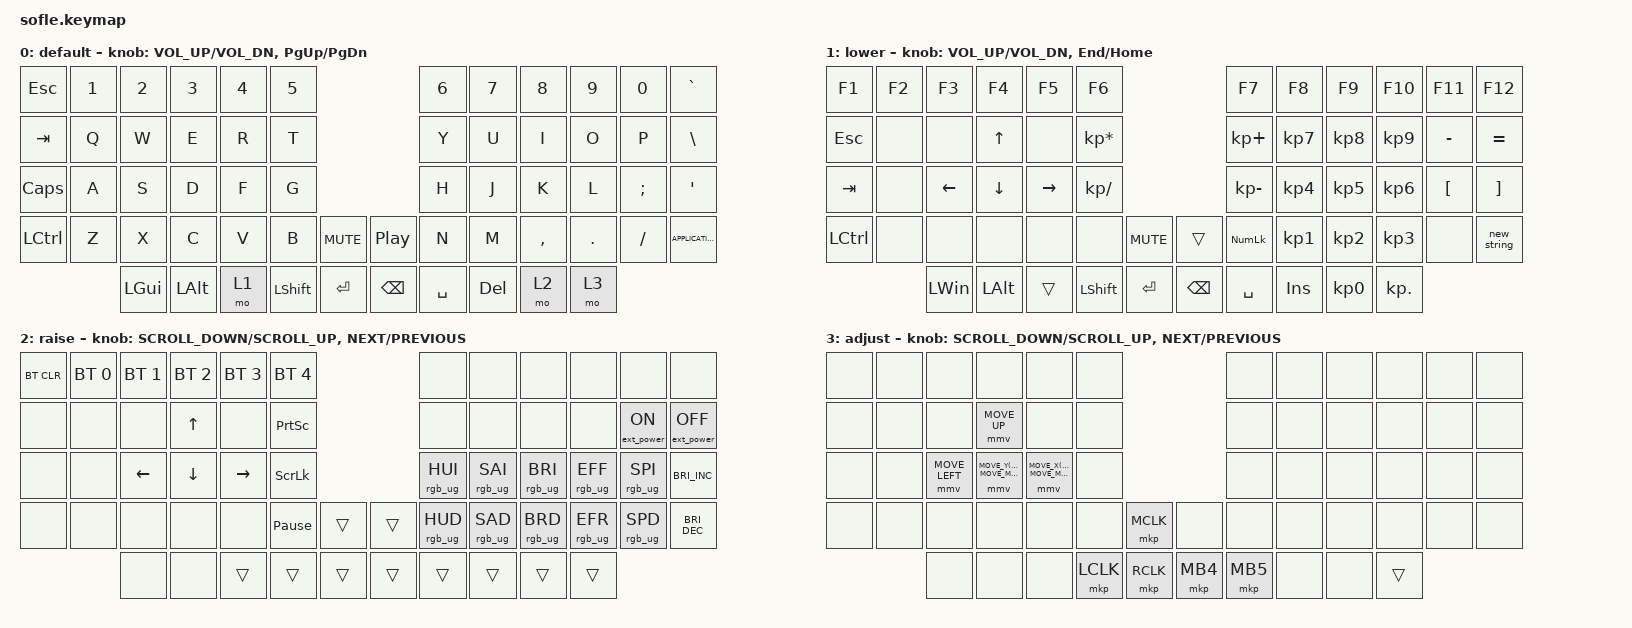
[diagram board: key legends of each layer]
/*
 * Copyright (c) 2020 The ZMK Contributors
 *
 * SPDX-License-Identifier: MIT
 */

#include <behaviors.dtsi>
#include <dt-bindings/zmk/bt.h>
#include <dt-bindings/zmk/ext_power.h>
#include <dt-bindings/zmk/keys.h>
#include <dt-bindings/zmk/mouse.h>
#include <dt-bindings/zmk/rgb.h>

#define BASE 0
#define LOWER 1
#define RAISE 2
#define ADJUST 3


&mmv {
  acceleration-exponent = <1>;      // 1
  time-to-max-speed-ms = <1500>;    // 40
  delay-ms = <0>;                   // 0
};

&msc {
  acceleration-exponent = <1>;      // 0
  time-to-max-speed-ms = <5000>;    // 40
  delay-ms = <0>;                   // 10
};

#define U_MOUSE_MOVE_MAX 1000       // 600
#define U_MOUSE_SCROLL_MAX 100      // 10

#undef MOVE_UP
#undef MOVE_DOWN
#undef MOVE_LEFT
#undef MOVE_RIGHT
#define MOVE_UP MOVE_Y(-U_MOUSE_MOVE_MAX)
#define MOVE_DOWN MOVE_Y(U_MOUSE_MOVE_MAX)
#define MOVE_LEFT MOVE_X(-U_MOUSE_MOVE_MAX)
#define MOVE_RIGHT MOVE_X(U_MOUSE_MOVE_MAX)

#undef SCROLL_UP
#undef SCROLL_DOWN
#undef SCROLL_LEFT
#undef SCROLL_RIGHT
#define SCROLL_UP SCRL_Y(U_MOUSE_SCROLL_MAX)
#define SCROLL_DOWN SCRL_Y(-U_MOUSE_SCROLL_MAX)
#define SCROLL_LEFT SCRL_X(-U_MOUSE_SCROLL_MAX)
#define SCROLL_RIGHT SCRL_X(U_MOUSE_SCROLL_MAX)

#define U_BTN1 &mkp MB1
#define U_BTN2 &mkp MB2
#define U_BTN3 &mkp MB3
#define U_MS_U &mmv MOVE_UP
#define U_MS_D &mmv MOVE_DOWN
#define U_MS_L &mmv MOVE_LEFT
#define U_MS_R &mmv MOVE_RIGHT
#define U_WH_U &msc SCROLL_UP
#define U_WH_D &msc SCROLL_DOWN
#define U_WH_L &msc SCROLL_LEFT
#define U_WH_R &msc SCROLL_RIGHT

/ {
    // Activate ADJUST layer by pressing raise and lower

    conditional_layers {
        compatible = "zmk,conditional-layers";

        adjust_layer {
            if-layers = <LOWER RAISE>;
            then-layer = <ADJUST>;
        };
    };

    macros {
        new_string: new_string {
            compatible = "zmk,behavior-macro";
            #binding-cells = <0>;
            bindings = <&none &kp LS(V) &kp A &kp N &kp G &kp LS(H) &kp U &kp Y &kp N &kp H &kp N1 &kp N9 &kp N9 &kp N5 &kp GT &kp GT &kp LT &kp LT &kp ENTER>;
            label = "NEW_STRING";
        };
    };

    keymap {
        compatible = "zmk,keymap";

        default_layer {
            display-name = "default";

            // ------------------------------------------------------------------------------------------------------------
            // |   `   |  1  |  2  |  3   |  4   |  5   |                   |  6   |  7    |  8    |  9   |   0   |       |
            // |  ESC  |  Q  |  W  |  E   |  R   |  T   |                   |  Y   |  U    |  I    |  O   |   P   | BKSPC |
            // |  TAB  |  A  |  S  |  D   |  F   |  G   |                   |  H   |  J    |  K    |  L   |   ;   |   '   |
            // | SHIFT |  Z  |  X  |  C   |  V   |  B   |  MUTE  |  |       |  N   |  M    |  ,    |  .   |   /   | SHIFT |
            //               | GUI | ALT  | CTRL | LOWER|  ENTER |  | SPACE | RAISE| CTRL  | ALT   | GUI  |

            bindings = <
&kp ESC    &kp N1  &kp N2    &kp N3    &kp N4  &kp N5                                          &kp N6     &kp N7   &kp N8     &kp N9   &kp N0    &kp GRAVE
&kp TAB    &kp Q   &kp W     &kp E     &kp R   &kp T                                           &kp Y      &kp U    &kp I      &kp O    &kp P     &kp BACKSLASH
&kp CLCK   &kp A   &kp S     &kp D     &kp F   &kp G                                           &kp H      &kp J    &kp K      &kp L    &kp SEMI  &kp SQT
&kp LCTRL  &kp Z   &kp X     &kp C     &kp V   &kp B           &kp C_MUTE    &kp C_PLAY_PAUSE  &kp N      &kp M    &kp COMMA  &kp DOT  &kp FSLH  &kp K_APPLICATION
                   &kp LGUI  &kp LALT  &mo 1   &kp LEFT_SHIFT  &kp RET       &kp BACKSPACE     &kp SPACE  &kp DEL  &mo 2      &mo 3
            >;

            sensor-bindings =
                <&inc_dec_kp C_VOLUME_UP C_VOL_DN &inc_dec_kp PG_UP PG_DN>;
        };

        lower_layer {
            display-name = "lower";

            // TODO: Some binds are waiting for shifted keycode support.
            // ------------------------------------------------------------------------------------------------------------
            // |       |  F1 |  F2 |  F3  |  F4  |  F5  |                   |  F6  |  F7   |  F8   |  F9  |  F10  |  F11  |
            // |   `   |  1  |  2  |  3   |  4   |  5   |                   |  6   |  7    |  8    |  9   |   0   |  F12  |
            // |       |  !  |  @  |  #   |  $   |  %   |                   |  ^   |  &    |  *    |  (   |   )   |   |   |
            // |       |  =  |  -  |  +   |  {   |  }   |        |  |       |  [   |  ]    |  ;    |  :   |   \   |       |
            //               |     |      |      |      |        |  |       |      |       |       |      |

            bindings = <
&kp F1      &kp F2  &kp F3        &kp F4          &kp F5     &kp F6                                        &kp F7        &kp F8     &kp F9     &kp F10     &kp F11           &kp F12
&kp ESCAPE  &none   &none         &kp UP_ARROW    &none      &kp KP_MULTIPLY                               &kp KP_PLUS   &kp KP_N7  &kp KP_N8  &kp KP_N9   &kp MINUS         &kp EQUAL
&kp TAB     &none   &kp LEFT      &kp DOWN_ARROW  &kp RIGHT  &kp KP_DIVIDE                                 &kp KP_MINUS  &kp KP_N4  &kp KP_N5  &kp KP_N6   &kp LEFT_BRACKET  &kp RIGHT_BRACKET
&kp LCTRL   &none   &none         &none           &none      &none            &kp C_MUTE    &trans         &kp KP_NUM    &kp KP_N1  &kp KP_N2  &kp KP_N3   &none             &new_string
                    &kp LEFT_WIN  &kp LEFT_ALT    &trans     &kp LEFT_SHIFT   &kp ENTER     &kp BACKSPACE  &kp SPACE     &kp INS    &kp KP_N0  &kp KP_DOT
            >;

            sensor-bindings =
                <&inc_dec_kp C_VOL_UP C_VOL_DN &inc_dec_kp END HOME>;
        };

        raise_layer {
            display-name = "raise";

            // ------------------------------------------------------------------------------------------------------------
            // | BTCLR | BT1  | BT2  |  BT3  |  BT4  |  BT5 |                |      |      |       |      |       |       |
            // |       | INS  | PSCR | GUI   |       |      |                | PGUP |      |   ^   |      |       |       |
            // |       | ALT  | CTRL | SHIFT |       | CAPS |                | PGDN |   <- |   v   |  ->  |  DEL  | BKSPC |
            // |       | UNDO | CUT  | COPY  | PASTE |      |      |  |      |      |      |       |      |       |       |
            //                |      |       |       |      |      |  |      |      |      |       |      |

            bindings = <
&bt BT_CLR  &bt BT_SEL 0  &bt BT_SEL 1    &bt BT_SEL 2    &bt BT_SEL 3  &bt BT_SEL 4                       &none            &none            &none            &none            &none             &none
&none       &none         &none           &kp UP_ARROW    &none         &kp PRINTSCREEN                    &none            &none            &none            &none            &ext_power EP_ON  &ext_power EP_OFF
&none       &none         &kp LEFT_ARROW  &kp DOWN_ARROW  &kp RIGHT     &kp SCROLLLOCK                     &rgb_ug RGB_HUI  &rgb_ug RGB_SAI  &rgb_ug RGB_BRI  &rgb_ug RGB_EFF  &rgb_ug RGB_SPI   &kp C_BRIGHTNESS_INC
&none       &none         &none           &none           &none         &kp PAUSE_BREAK  &trans    &trans  &rgb_ug RGB_HUD  &rgb_ug RGB_SAD  &rgb_ug RGB_BRD  &rgb_ug RGB_EFR  &rgb_ug RGB_SPD   &kp C_BRIGHTNESS_DEC
                          &none           &none           &trans        &trans           &trans    &trans  &trans           &trans           &trans           &trans
            >;

            sensor-bindings =
                <&inc_dec_kp K_SCROLL_DOWN K_SCROLL_UP &inc_dec_kp C_NEXT C_PREVIOUS>;
        };

        adjust_layer {
            // ----------------------------------------------------------------------------------------------------------------------------
            // | BTCLR  |  BT1    |  BT2    |   BT3   |   BT4   |   BT5   |                  |      |      |       |      |       |       |
            // | EXTPWR | RGB_HUD | RGB_HUI | RGB_SAD | RGB_SAI | RGB_EFF |                  |      |      |       |      |       |       |
            // |        | RGB_BRD | RGB_BRI |         |         |         |                  |      |      |       |      |       |       |
            // |        |         |         |         |         |         | RGB_TOG | |      |      |      |       |      |       |       |
            //                    |         |         |         |         |         | |      |      |      |       |      |

            display-name = "adjust";
            bindings = <
&none  &none  &none  &none  &none  &none                             &none     &none  &none  &none   &none  &none
&none  &none  &none  &mmv MOVE_UP  &none  &none                             &none     &none  &none  &none   &none  &none
&none  &none  &mmv MOVE_LEFT  &mmv MOVE_DOWN  &mmv MOVE_RIGHT  &none                             &none     &none  &none  &none   &none  &none
&none  &none  &none  &none  &none  &none      &mkp MCLK    &none     &none     &none  &none  &none   &none  &none
              &none  &none  &none  &mkp LCLK  &mkp RCLK    &mkp MB4  &mkp MB5  &none  &none  &trans
            >;

            sensor-bindings =
                <&inc_dec_kp K_SCROLL_DOWN K_SCROLL_UP &inc_dec_kp C_NEXT C_PREVIOUS>;
        };
    };
};
